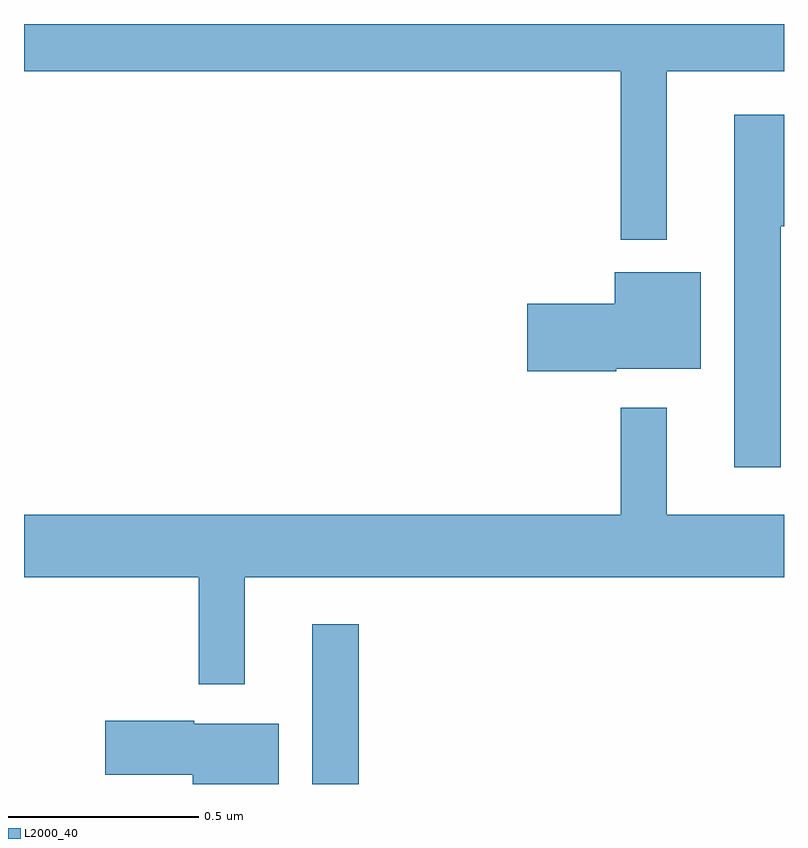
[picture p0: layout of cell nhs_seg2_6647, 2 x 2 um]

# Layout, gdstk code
import gdstk
lib = gdstk.Library(unit=1e-6, precision=1e-09)
def R(c, l, rs):  # rectangles x0, y0, x1, y1
    for r in rs: c.add(gdstk.rectangle(r[:2], r[2:], *l))
def P(c, l, *ps):  # polygons
    for p in ps: c.add(gdstk.Polygon(p, *l))
L2000_40 = (2000, 40)

nhs_seg2_6647 = lib.new_cell('nhs_seg2_6647')
R(nhs_seg2_6647, L2000_40, [(194.759,605.8,194.881,606.22)])
P(nhs_seg2_6647, L2000_40, [(195.691,607.676),(196,607.676),(196,607.8),(194,607.8),(194,607.676),(195.57,607.676),(195.57,607.232),(195.691,607.232)],
  [(195.991,607.268),(196,607.268),(196,607.561),(195.869,607.561),(195.869,606.633),(195.991,606.633)],
  [(195.558,606.893),(195.781,606.893),(195.781,607.147),(195.554,607.147),(195.554,607.064),(195.324,607.064),(195.324,606.886),(195.558,606.886)],
  [(195.57,606.79),(195.57,606.508),(194,606.508),(194,606.344),(194.46,606.344),(194.46,606.063),(194.581,606.063),(194.581,606.344),(196,606.344),(196,606.508),(195.691,606.508),(195.691,606.79)],
  [(194.671,605.959),(194.448,605.959),(194.448,605.967),(194.214,605.967),(194.214,605.825),(194.444,605.825),(194.444,605.8),(194.671,605.8)])

lib.write_gds('nhs_seg2_6647.gds')
